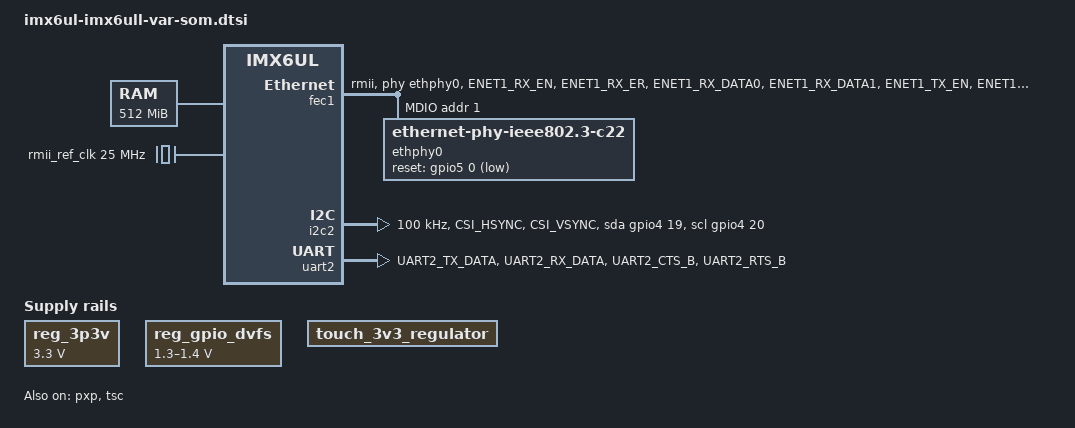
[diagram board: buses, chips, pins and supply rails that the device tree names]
// SPDX-License-Identifier: GPL-2.0+
/*
 * Copyright (C) 2026 Variscite Ltd. - https://www.variscite.com
 */

/ {
	memory@80000000 {
		device_type = "memory";
		reg = <0x80000000 0x20000000>;
	};

	/* ref_clk for micrel ethernet phy */
	rmii_ref_clk: clock-rmii-ref {
		compatible = "fixed-clock";
		#clock-cells = <0>;
		clock-frequency = <25000000>;
		clock-output-names = "rmii-ref";
	};

	reg_3p3v: regulator-3p3v {
		compatible = "regulator-fixed";
		regulator-name = "3P3V";
		regulator-min-microvolt = <3300000>;
		regulator-max-microvolt = <3300000>;
		regulator-always-on;
	};

	reg_gpio_dvfs: regulator-gpio-dvfs {
		compatible = "regulator-gpio";
		regulator-name = "gpio_dvfs";
		regulator-min-microvolt = <1300000>;
		regulator-max-microvolt = <1400000>;
		regulator-type = "voltage";
		gpios = <&gpio4 13 GPIO_ACTIVE_HIGH>;
		states = <1300000 0x1
			  1400000 0x0>;
	};

	touch_3v3_regulator: regulator-touch-3v3 {
		compatible = "regulator-fixed";
		regulator-name = "touch_3v3_supply";
		regulator-always-on;
	};
};

&clks {
	assigned-clocks = <&clks IMX6UL_CLK_PLL4_AUDIO_DIV>;
	assigned-clock-rates = <786432000>;
};

&cpu0 {
	arm-supply = <&reg_arm>;
	soc-supply = <&reg_soc>;
};

&fec1 {
	pinctrl-names = "default";
	pinctrl-0 = <&pinctrl_enet1>, <&pinctrl_enet1_gpio>, <&pinctrl_enet1_mdio>;
	phy-mode = "rmii";
	phy-handle = <&ethphy0>;
	status = "okay";

	mdio {
		#address-cells = <1>;
		#size-cells = <0>;

		ethphy0: ethernet-phy@1 {
			compatible = "ethernet-phy-ieee802.3-c22";
			reg = <1>;
			clocks = <&rmii_ref_clk>;
			clock-names = "rmii-ref";
			reset-gpios = <&gpio5 0 GPIO_ACTIVE_LOW>;
			reset-assert-us = <10000>;
			reset-deassert-us = <100000>;
			micrel,rmii-reference-clock-select-25-mhz = <1>;
			micrel,led-mode = <1>;
		};
	};
};

&i2c2 {
	clock-frequency = <100000>;
	pinctrl-names = "default", "gpio";
	pinctrl-0 = <&pinctrl_i2c2>;
	pinctrl-1 = <&pinctrl_i2c2_gpio>;
	scl-gpios = <&gpio4 20 (GPIO_ACTIVE_HIGH | GPIO_OPEN_DRAIN)>;
	sda-gpios = <&gpio4 19 (GPIO_ACTIVE_HIGH | GPIO_OPEN_DRAIN)>;
	status = "okay";
};

&pxp {
	status = "okay";
};

&snvs_poweroff {
	status = "okay";
};

&tsc {
	pinctrl-names = "default";
	pinctrl-0 = <&pinctrl_tsc>;
	xnur-gpios = <&gpio1 3 GPIO_ACTIVE_LOW>;
	measure-delay-time = <0xffff>;
	pre-charge-time = <0xfff>;
	status = "okay";
};

/* Bluetooth UART */
&uart2 {
	pinctrl-names = "default";
	pinctrl-0 = <&pinctrl_uart2>;
	uart-has-rtscts;
	status = "okay";
};

&iomuxc {
	pinctrl_enet1: enet1-grp {
		fsl,pins = <
			MX6UL_PAD_ENET1_RX_EN__ENET1_RX_EN	0x1b0b0
			MX6UL_PAD_ENET1_RX_ER__ENET1_RX_ER	0x1b0b0
			MX6UL_PAD_ENET1_RX_DATA0__ENET1_RDATA00	0x1b0b0
			MX6UL_PAD_ENET1_RX_DATA1__ENET1_RDATA01	0x1b0b0
			MX6UL_PAD_ENET1_TX_EN__ENET1_TX_EN	0x1b0b0
			MX6UL_PAD_ENET1_TX_DATA0__ENET1_TDATA00	0x1b0b0
			MX6UL_PAD_ENET1_TX_DATA1__ENET1_TDATA01	0x1b0b0
			MX6UL_PAD_ENET1_TX_CLK__ENET1_REF_CLK1	0x4001b031
		>;
	};

	pinctrl_enet1_mdio: enet1-mdio-grp {
		fsl,pins = <
			MX6UL_PAD_GPIO1_IO06__ENET1_MDIO	0x1b0b0
			MX6UL_PAD_GPIO1_IO07__ENET1_MDC		0x1b0b0
		>;
	};

	pinctrl_i2c2: i2c2-grp {
		fsl,pins = <
			MX6UL_PAD_CSI_HSYNC__I2C2_SCL		0x4001b8b0
			MX6UL_PAD_CSI_VSYNC__I2C2_SDA		0x4001b8b0
		>;
	};

	pinctrl_i2c2_gpio: i2c2-gpio-grp {
		fsl,pins = <
			MX6UL_PAD_CSI_HSYNC__GPIO4_IO20		0x1b0b0
			MX6UL_PAD_CSI_VSYNC__GPIO4_IO19		0x1b0b0
		>;
	};

	pinctrl_tsc: tsc-grp {
		fsl,pins = <
			MX6UL_PAD_GPIO1_IO01__GPIO1_IO01	0xb0
			MX6UL_PAD_GPIO1_IO02__GPIO1_IO02	0xb0
			MX6UL_PAD_GPIO1_IO03__GPIO1_IO03	0xb0
			MX6UL_PAD_GPIO1_IO04__GPIO1_IO04	0xb0
		>;
	};

	pinctrl_uart2: uart2-grp {
		fsl,pins = <
			MX6UL_PAD_UART2_TX_DATA__UART2_DCE_TX	0x1b0b1
			MX6UL_PAD_UART2_RX_DATA__UART2_DCE_RX	0x1b0b1
			MX6UL_PAD_UART2_CTS_B__UART2_DCE_CTS	0x1b0b1
			MX6UL_PAD_UART2_RTS_B__UART2_DCE_RTS	0x1b0b1
		>;
	};

	pinctrl_usdhc1: usdhc1-grp {
		fsl,pins = <
			MX6UL_PAD_SD1_CMD__USDHC1_CMD		0x17059
			MX6UL_PAD_SD1_CLK__USDHC1_CLK		0x17059
			MX6UL_PAD_SD1_DATA0__USDHC1_DATA0	0x17059
			MX6UL_PAD_SD1_DATA1__USDHC1_DATA1	0x17059
			MX6UL_PAD_SD1_DATA2__USDHC1_DATA2	0x17059
			MX6UL_PAD_SD1_DATA3__USDHC1_DATA3	0x17059
		>;
	};

	pinctrl_usdhc1_100mhz: usdhc1-100mhz-grp {
		fsl,pins = <
			MX6UL_PAD_SD1_CMD__USDHC1_CMD		0x170b9
			MX6UL_PAD_SD1_CLK__USDHC1_CLK		0x100b9
			MX6UL_PAD_SD1_DATA0__USDHC1_DATA0	0x170b9
			MX6UL_PAD_SD1_DATA1__USDHC1_DATA1	0x170b9
			MX6UL_PAD_SD1_DATA2__USDHC1_DATA2	0x170b9
			MX6UL_PAD_SD1_DATA3__USDHC1_DATA3	0x170b9
		>;
	};

	pinctrl_usdhc1_200mhz: usdhc1-200mhz-grp {
		fsl,pins = <
			MX6UL_PAD_SD1_CMD__USDHC1_CMD		0x170f9
			MX6UL_PAD_SD1_CLK__USDHC1_CLK		0x100f9
			MX6UL_PAD_SD1_DATA0__USDHC1_DATA0	0x170f9
			MX6UL_PAD_SD1_DATA1__USDHC1_DATA1	0x170f9
			MX6UL_PAD_SD1_DATA2__USDHC1_DATA2	0x170f9
			MX6UL_PAD_SD1_DATA3__USDHC1_DATA3	0x170f9
		>;
	};
};
